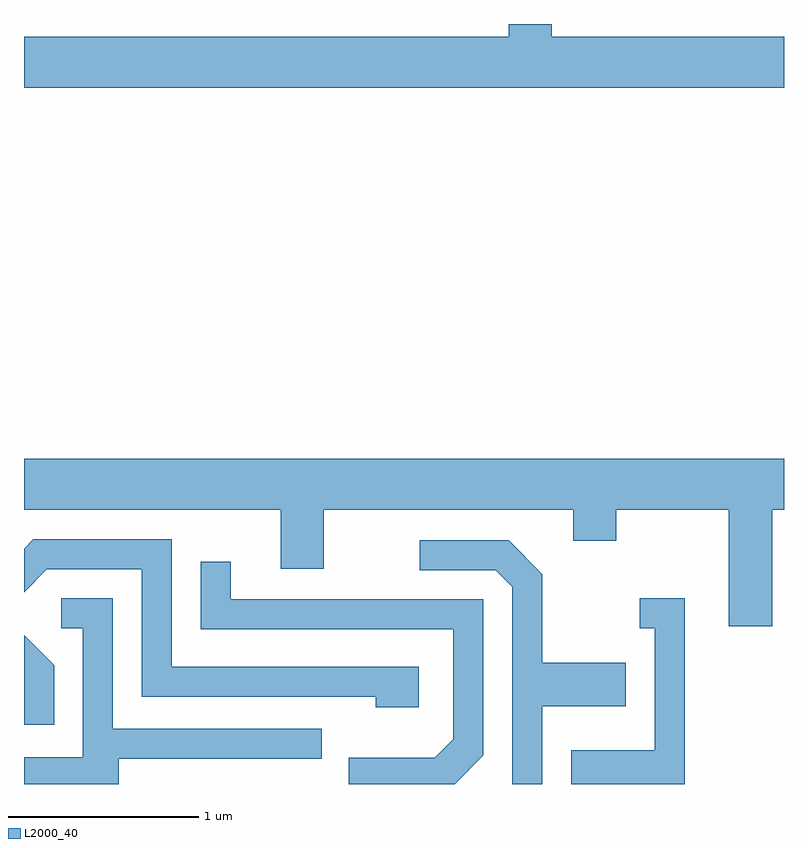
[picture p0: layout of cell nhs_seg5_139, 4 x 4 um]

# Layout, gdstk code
import gdstk
lib = gdstk.Library(unit=1e-6, precision=1e-09)
def P(c, l, *ps):  # polygons
    for p in ps: c.add(gdstk.Polygon(p, *l))
L2000_40 = (2000, 40)

nhs_seg5_139 = lib.new_cell('nhs_seg5_139')
P(nhs_seg5_139, L2000_40, [(193.611,1406.004),(192.389,1406.004),(192.389,1406.072),(192.161,1406.072),(192.161,1406.004),(189.611,1406.004),(189.611,1405.736),(193.611,1405.736)],
  [(193.549,1403.516),(193.611,1403.516),(193.611,1403.784),(189.611,1403.784),(189.611,1403.516),(190.961,1403.516),(190.961,1403.206),(191.189,1403.206),(191.189,1403.516),(192.501,1403.516),(192.501,1403.351),(192.729,1403.351),(192.729,1403.516),(193.321,1403.516),(193.321,1402.901),(193.549,1402.901)],
  [(191.689,1402.689),(190.389,1402.689),(190.389,1403.359),(189.659,1403.359),(189.611,1403.311),(189.611,1403.08),(189.732,1403.201),(190.231,1403.201),(190.231,1402.531),(191.461,1402.531),(191.461,1402.476),(191.689,1402.476)],
  [(192.339,1402.481),(192.779,1402.481),(192.779,1402.709),(192.339,1402.709),(192.339,1403.177),(192.162,1403.354),(191.693,1403.354),(191.693,1403.196),(192.094,1403.196),(192.181,1403.109),(192.181,1402.072),(192.339,1402.072)],
  [(192.029,1402.224),(192.029,1403.044),(190.699,1403.044),(190.699,1403.243),(190.541,1403.243),(190.541,1402.886),(191.871,1402.886),(191.871,1402.307),(191.774,1402.209),(191.321,1402.209),(191.321,1402.072),(191.878,1402.072)],
  [(193.089,1403.049),(192.853,1403.049),(192.853,1402.891),(192.931,1402.891),(192.931,1402.249),(192.491,1402.249),(192.491,1402.072),(193.089,1402.072)],
  [(190.109,1402.206),(191.178,1402.206),(191.178,1402.364),(190.079,1402.364),(190.079,1403.049),(189.808,1403.049),(189.808,1402.891),(189.921,1402.891),(189.921,1402.214),(189.611,1402.214),(189.611,1402.072),(190.109,1402.072)],
  [(189.769,1402.697),(189.611,1402.855),(189.611,1402.383),(189.769,1402.383)])

lib.write_gds('nhs_seg5_139.gds')
